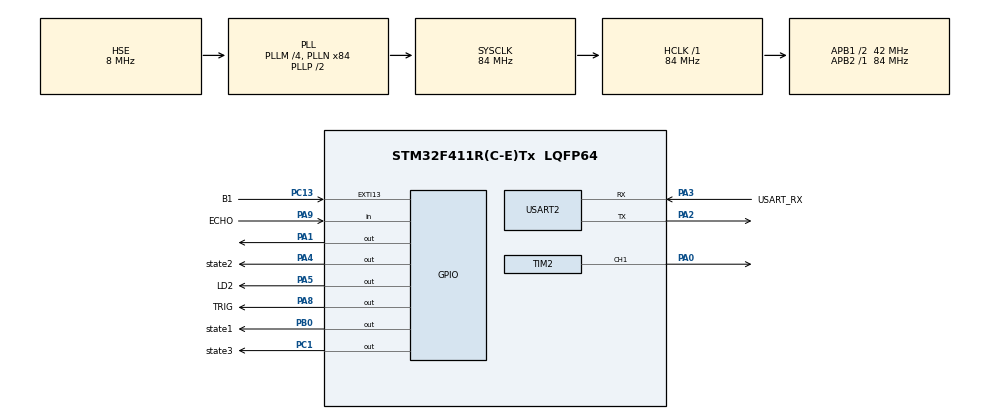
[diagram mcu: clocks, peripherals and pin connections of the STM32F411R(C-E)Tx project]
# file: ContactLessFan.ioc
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Mcu.Family=STM32F4
Mcu.Name=STM32F411R(C-E)Tx
Mcu.Package=LQFP64
NVIC.PriorityGroup=NVIC_PRIORITYGROUP_0
PA0-WKUP.Signal=S_TIM2_CH1_ETR
PA1.Signal=GPIO_Output
PA13.GPIO_Label=TMS
PA13.Mode=Serial_Wire
PA13.Signal=SYS_JTMS-SWDIO
PA14.GPIO_Label=TCK
PA14.Mode=Serial_Wire
PA14.Signal=SYS_JTCK-SWCLK
PA2.Mode=Asynchronous
PA2.Signal=USART2_TX
PA3.GPIO_Label=USART_RX
PA3.Mode=Asynchronous
PA3.Signal=USART2_RX
PA4.GPIO_Label=state2
PA4.Signal=GPIO_Output
PA5.GPIO_Label=LD2
PA5.Signal=GPIO_Output
PA8.GPIO_Label=TRIG
PA8.Signal=GPIO_Output
PA9.GPIO_Label=ECHO
PA9.Signal=GPIO_Input
PB0.GPIO_Label=state1
PB0.Signal=GPIO_Output
PB3.GPIO_Label=SWO
PB3.Signal=SYS_JTDO-SWO
PC1.GPIO_Label=state3
PC1.Signal=GPIO_Output
PC13-ANTI_TAMP.GPIO_Label=B1
PC13-ANTI_TAMP.GPIO_ModeDefaultEXTI=GPIO_MODE_IT_FALLING
PC13-ANTI_TAMP.Signal=GPXTI13
PC14-OSC32_IN.Mode=LSE-External-Oscillator
PC14-OSC32_IN.Signal=RCC_OSC32_IN
PC15-OSC32_OUT.Mode=LSE-External-Oscillator
PC15-OSC32_OUT.Signal=RCC_OSC32_OUT
PH0\ -\ OSC_IN.Mode=HSE-External-Clock-Source
PH0\ -\ OSC_IN.Signal=RCC_OSC_IN
PH1\ -\ OSC_OUT.Mode=HSE-External-Clock-Source
PH1\ -\ OSC_OUT.Signal=RCC_OSC_OUT
ProjectManager.HeapSize=0x200
ProjectManager.StackSize=0x400
ProjectManager.TargetToolchain=STM32CubeIDE
RCC.48MHZClocksFreq_Value=42000000
RCC.AHBFreq_Value=84000000
RCC.APB1CLKDivider=RCC_HCLK_DIV2
RCC.APB1Freq_Value=42000000
RCC.APB1TimFreq_Value=84000000
RCC.APB2Freq_Value=84000000
RCC.APB2TimFreq_Value=84000000
RCC.CortexFreq_Value=84000000
RCC.FLatency-AdvancedSettings=FLASH_LATENCY_2
RCC.HCLKFreq_Value=84000000
RCC.HSE_VALUE=8000000
RCC.HSI_VALUE=16000000
RCC.PLLM=4
RCC.PLLN=84
RCC.PLLSourceVirtual=RCC_PLLSOURCE_HSE
RCC.SYSCLKFreq_VALUE=84000000
RCC.SYSCLKSource=RCC_SYSCLKSOURCE_PLLCLK
RCC.VCOOutputFreq_Value=168000000
SH.S_TIM2_CH1_ETR.0=TIM2_CH1,PWM Generation1 CH1
TIM2.Channel-PWM\ Generation1\ CH1=TIM_CHANNEL_1
TIM2.Period=1000
TIM2.Prescaler=32000
TIM4.Prescaler=84-1
USART2.VirtualMode=VM_ASYNC
VP_TIM2_VS_ClockSourceINT.Mode=Internal
VP_TIM4_VS_ClockSourceINT.Mode=Internal
board=NUCLEO-F411RE

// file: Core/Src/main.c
/* USER CODE BEGIN Header */
/**
  ******************************************************************************
  * @file           : main.c
  * @brief          : Main program body
  ******************************************************************************
  * @attention
  *
  * <h2><center>&copy; Copyright (c) 2020 STMicroelectronics.
  * All rights reserved.</center></h2>
  *
  * This software component is licensed by ST under BSD 3-Clause license,
  * the "License"; You may not use this file except in compliance with the
  * License. You may obtain a copy of the License at:
  *                        opensource.org/licenses/BSD-3-Clause
  *
  ******************************************************************************
  */
/* USER CODE END Header */
#include "main.h"

/* USER CODE BEGIN Includes */
#include "DHT.h"
//#include "ESP8266_HAL.h"
#include <string.h>
#include <stdio.h>
/* USER CODE END Includes */

/* USER CODE BEGIN PTD */
#define usTIM	TIM4
/* USER CODE END PTD */

TIM_HandleTypeDef htim2;
TIM_HandleTypeDef htim4;

UART_HandleTypeDef huart2;

void SystemClock_Config(void);
static void MX_GPIO_Init(void);
static void MX_TIM4_Init(void);
static void MX_TIM2_Init(void);
static void MX_USART2_UART_Init(void);
/* USER CODE BEGIN PFP */
void usDelay(uint32_t uSec);
/* USER CODE END PFP */

/* USER CODE BEGIN 0 */
const float speedOfSound = 0.0343/2;
float distance;
float Temperature, Humidity;
float max_distance, min_distance, min_Temp;
int time, dutycycle;

DHT_DataTypedef DHT11_Data;
int fan_state  = 1;
char uartBuf[100];

/* USER CODE END 0 */

int main(void)
{
  /* USER CODE BEGIN 1 */
	uint32_t numTicks = 0;
  /* USER CODE END 1 */

  /* MCU Configuration--------------------------------------------------------*/

  /* Reset of all peripherals, Initializes the Flash interface and the Systick. */
  HAL_Init();

  /* Configure the system clock */
  SystemClock_Config();

  /* Initialize all configured peripherals */
  MX_GPIO_Init();
  MX_TIM4_Init();
  MX_TIM2_Init();
  MX_USART2_UART_Init();
  /* USER CODE BEGIN 2 */

//  Ringbuf_init();

//  ESP_Init("", ""); //input ssid and password.

  /* USER CODE END 2 */

  /* Infinite loop */
  while (1)
  {

    /* USER CODE BEGIN 3 */
//	  Server_Start();
//	  HAL_Delay(5000);	//the esp still can't initiate the server yet.
//
	  time = HAL_GetTick() % 5000;
	  dutycycle = time * 4095 / 5000;
	  TIM2->CCR1 = dutycycle;

	  DHT_GetData(&DHT11_Data);		//the code from here for DHT and Ultra works fine
	  Temperature = DHT11_Data.Temperature;

	  HAL_GPIO_WritePin(TRIG_GPIO_Port, TRIG_Pin, GPIO_PIN_RESET);
	  usDelay(3);
	  //*** START Ultrasonic measure routine ***//
	  //1. Output 10 usec TRIG
	  HAL_GPIO_WritePin(TRIG_GPIO_Port, TRIG_Pin, GPIO_PIN_SET);
	  usDelay(10);
	  HAL_GPIO_WritePin(TRIG_GPIO_Port, TRIG_Pin, GPIO_PIN_RESET);

	  //2. Wait for ECHO pin rising edge
	  while(HAL_GPIO_ReadPin(ECHO_GPIO_Port, ECHO_Pin) == GPIO_PIN_RESET);

	  //3. Start measuring ECHO pulse width in usec
	  numTicks = 0;
	  while(HAL_GPIO_ReadPin(ECHO_GPIO_Port, ECHO_Pin) == GPIO_PIN_SET)
	  {
		  numTicks++;
		  usDelay(2); //2.8usec
	  };

	  //4. Estimate distance in cm
	  distance = (numTicks + 0.0f)*2.8*speedOfSound;

	  //5. Print to UART terminal for debugging
	  sprintf(uartBuf, "Distance (cm)  = %.1f Temperature (C) = %.1f Fan State = %d\r\n", distance, Temperature, fan_state);
	  HAL_UART_Transmit(&huart2, (uint8_t *)uartBuf, strlen(uartBuf), 100);

	  max_distance = 60;
	  min_distance = 2;
	  min_Temp = 24;

	  if(HAL_GPIO_ReadPin(B1_GPIO_Port, B1_Pin) == 0){
		  HAL_Delay(10);
		  if(HAL_GPIO_ReadPin(B1_GPIO_Port, B1_Pin) == 0){
			  while(HAL_GPIO_ReadPin(B1_GPIO_Port,B1_Pin) == 0);
			  HAL_Delay(10);
			  fan_state = (fan_state + 1) % 4;
		  }
	  }

	  if(distance <= 60 && distance >=2 && Temperature >= 24 && fan_state!=0){
		  HAL_TIM_PWM_Stop(&htim2, TIM_CHANNEL_1);
		  if(fan_state == 1){
//			  TIM2->CCR1 = 500;
		  }else if(fan_state == 2){
//			  TIM2->CCR1 = 3000;
		  }else if(fan_state == 3){
//			  TIM2->CCR1 = 5000;
		  }
	  }
	  else{
		  HAL_TIM_PWM_Start(&htim2, TIM_CHANNEL_1);
	  }
//
//	  if(distance <= 60 && distance >=2 && Temperature >= 24){
//		  switch(fan_state){
//		  case '1':
//			  HAL_TIM_PWM_Stop(&htim2, TIM_CHANNEL_1);
//			  HAL_TIM_PWM_ConfigChannel(&htim2, 400, TIM_CHANNEL_1);
//		  case '2':
//			  HAL_TIM_PWM_Stop(&htim2, TIM_CHANNEL_1);
////			  HAL_TIM_PWM_ConfigChannel(&htim2, 200, TIM_CHANNEL_1);
//		  case '3':
//			  HAL_TIM_PWM_Stop(&htim2, TIM_CHANNEL_1);
////			  Blink(500);
////			  HAL_TIM_PWM_ConfigChannel(&htim2, 50, TIM_CHANNEL_1);
//		  default:
//			  HAL_TIM_PWM_Start(&htim2, TIM_CHANNEL_1);
//		  }
//	  }
//	  else{
//		  HAL_TIM_PWM_Start(&htim2, TIM_CHANNEL_1);
//	  }
//
//
	  HAL_Delay(2000); //given it at least 2 sec for it to work.
  }
  /* USER CODE END 3 */
}

void SystemClock_Config(void)
{
  RCC_OscInitTypeDef RCC_OscInitStruct = {0};
  RCC_ClkInitTypeDef RCC_ClkInitStruct = {0};

  /** Configure the main internal regulator output voltage
  */
  __HAL_RCC_PWR_CLK_ENABLE();
  __HAL_PWR_VOLTAGESCALING_CONFIG(PWR_REGULATOR_VOLTAGE_SCALE1);
  /** Initializes the RCC Oscillators according to the specified parameters
  * in the RCC_OscInitTypeDef structure.
  */
  RCC_OscInitStruct.OscillatorType = RCC_OSCILLATORTYPE_HSE;
  RCC_OscInitStruct.HSEState = RCC_HSE_BYPASS;
  RCC_OscInitStruct.PLL.PLLState = RCC_PLL_ON;
  RCC_OscInitStruct.PLL.PLLSource = RCC_PLLSOURCE_HSE;
  RCC_OscInitStruct.PLL.PLLM = 4;
  RCC_OscInitStruct.PLL.PLLN = 84;
  RCC_OscInitStruct.PLL.PLLP = RCC_PLLP_DIV2;
  RCC_OscInitStruct.PLL.PLLQ = 4;
  if (HAL_RCC_OscConfig(&RCC_OscInitStruct) != HAL_OK)
  {
    Error_Handler();
  }
  /** Initializes the CPU, AHB and APB buses clocks
  */
  RCC_ClkInitStruct.ClockType = RCC_CLOCKTYPE_HCLK|RCC_CLOCKTYPE_SYSCLK
                              |RCC_CLOCKTYPE_PCLK1|RCC_CLOCKTYPE_PCLK2;
  RCC_ClkInitStruct.SYSCLKSource = RCC_SYSCLKSOURCE_PLLCLK;
  RCC_ClkInitStruct.AHBCLKDivider = RCC_SYSCLK_DIV1;
  RCC_ClkInitStruct.APB1CLKDivider = RCC_HCLK_DIV2;
  RCC_ClkInitStruct.APB2CLKDivider = RCC_HCLK_DIV1;

  if (HAL_RCC_ClockConfig(&RCC_ClkInitStruct, FLASH_LATENCY_2) != HAL_OK)
  {
    Error_Handler();
  }
}

static void MX_TIM2_Init(void)
{

  TIM_ClockConfigTypeDef sClockSourceConfig = {0};
  TIM_MasterConfigTypeDef sMasterConfig = {0};
  TIM_OC_InitTypeDef sConfigOC = {0};

  htim2.Instance = TIM2;
  htim2.Init.Prescaler = 32000;
  htim2.Init.CounterMode = TIM_COUNTERMODE_UP;
  htim2.Init.Period = 1000;
  htim2.Init.ClockDivision = TIM_CLOCKDIVISION_DIV1;
  htim2.Init.AutoReloadPreload = TIM_AUTORELOAD_PRELOAD_DISABLE;
  if (HAL_TIM_Base_Init(&htim2) != HAL_OK)
  {
    Error_Handler();
  }
  sClockSourceConfig.ClockSource = TIM_CLOCKSOURCE_INTERNAL;
  if (HAL_TIM_ConfigClockSource(&htim2, &sClockSourceConfig) != HAL_OK)
  {
    Error_Handler();
  }
  if (HAL_TIM_PWM_Init(&htim2) != HAL_OK)
  {
    Error_Handler();
  }
  sMasterConfig.MasterOutputTrigger = TIM_TRGO_RESET;
  sMasterConfig.MasterSlaveMode = TIM_MASTERSLAVEMODE_DISABLE;
  if (HAL_TIMEx_MasterConfigSynchronization(&htim2, &sMasterConfig) != HAL_OK)
  {
    Error_Handler();
  }
  sConfigOC.OCMode = TIM_OCMODE_PWM1;
  sConfigOC.Pulse = 0;
  sConfigOC.OCPolarity = TIM_OCPOLARITY_HIGH;
  sConfigOC.OCFastMode = TIM_OCFAST_DISABLE;
  if (HAL_TIM_PWM_ConfigChannel(&htim2, &sConfigOC, TIM_CHANNEL_1) != HAL_OK)
  {
    Error_Handler();
  }
  HAL_TIM_MspPostInit(&htim2);

}

static void MX_TIM4_Init(void)
{

  TIM_ClockConfigTypeDef sClockSourceConfig = {0};
  TIM_MasterConfigTypeDef sMasterConfig = {0};

  htim4.Instance = TIM4;
  htim4.Init.Prescaler = 84-1;
  htim4.Init.CounterMode = TIM_COUNTERMODE_UP;
  htim4.Init.Period = 65535;
  htim4.Init.ClockDivision = TIM_CLOCKDIVISION_DIV1;
  htim4.Init.AutoReloadPreload = TIM_AUTORELOAD_PRELOAD_DISABLE;
  if (HAL_TIM_Base_Init(&htim4) != HAL_OK)
  {
    Error_Handler();
  }
  sClockSourceConfig.ClockSource = TIM_CLOCKSOURCE_INTERNAL;
  if (HAL_TIM_ConfigClockSource(&htim4, &sClockSourceConfig) != HAL_OK)
  {
    Error_Handler();
  }
  sMasterConfig.MasterOutputTrigger = TIM_TRGO_RESET;
  sMasterConfig.MasterSlaveMode = TIM_MASTERSLAVEMODE_DISABLE;
  if (HAL_TIMEx_MasterConfigSynchronization(&htim4, &sMasterConfig) != HAL_OK)
  {
    Error_Handler();
  }

}

static void MX_USART2_UART_Init(void)
{

  huart2.Instance = USART2;
  huart2.Init.BaudRate = 115200;
  huart2.Init.WordLength = UART_WORDLENGTH_8B;
  huart2.Init.StopBits = UART_STOPBITS_1;
  huart2.Init.Parity = UART_PARITY_NONE;
  huart2.Init.Mode = UART_MODE_TX_RX;
  huart2.Init.HwFlowCtl = UART_HWCONTROL_NONE;
  huart2.Init.OverSampling = UART_OVERSAMPLING_16;
  if (HAL_UART_Init(&huart2) != HAL_OK)
  {
    Error_Handler();
  }

}

static void MX_GPIO_Init(void)
{
  GPIO_InitTypeDef GPIO_InitStruct = {0};

  /* GPIO Ports Clock Enable */
  __HAL_RCC_GPIOC_CLK_ENABLE();
  __HAL_RCC_GPIOH_CLK_ENABLE();
  __HAL_RCC_GPIOA_CLK_ENABLE();
  __HAL_RCC_GPIOB_CLK_ENABLE();

  /*Configure GPIO pin Output Level */
  HAL_GPIO_WritePin(state3_GPIO_Port, state3_Pin, GPIO_PIN_RESET);

  /*Configure GPIO pin Output Level */
  HAL_GPIO_WritePin(GPIOA, GPIO_PIN_1|state2_Pin|LD2_Pin|TRIG_Pin, GPIO_PIN_RESET);

  /*Configure GPIO pin Output Level */
  HAL_GPIO_WritePin(state1_GPIO_Port, state1_Pin, GPIO_PIN_RESET);

  /*Configure GPIO pin : B1_Pin */
  GPIO_InitStruct.Pin = B1_Pin;
  GPIO_InitStruct.Mode = GPIO_MODE_IT_FALLING;
  GPIO_InitStruct.Pull = GPIO_NOPULL;
  HAL_GPIO_Init(B1_GPIO_Port, &GPIO_InitStruct);

  /*Configure GPIO pin : state3_Pin */
  GPIO_InitStruct.Pin = state3_Pin;
  GPIO_InitStruct.Mode = GPIO_MODE_OUTPUT_PP;
  GPIO_InitStruct.Pull = GPIO_NOPULL;
  GPIO_InitStruct.Speed = GPIO_SPEED_FREQ_LOW;
  HAL_GPIO_Init(state3_GPIO_Port, &GPIO_InitStruct);

  /*Configure GPIO pins : PA1 state2_Pin LD2_Pin TRIG_Pin */
  GPIO_InitStruct.Pin = GPIO_PIN_1|state2_Pin|LD2_Pin|TRIG_Pin;
  GPIO_InitStruct.Mode = GPIO_MODE_OUTPUT_PP;
  GPIO_InitStruct.Pull = GPIO_NOPULL;
  GPIO_InitStruct.Speed = GPIO_SPEED_FREQ_LOW;
  HAL_GPIO_Init(GPIOA, &GPIO_InitStruct);

  /*Configure GPIO pin : state1_Pin */
  GPIO_InitStruct.Pin = state1_Pin;
  GPIO_InitStruct.Mode = GPIO_MODE_OUTPUT_PP;
  GPIO_InitStruct.Pull = GPIO_NOPULL;
  GPIO_InitStruct.Speed = GPIO_SPEED_FREQ_LOW;
  HAL_GPIO_Init(state1_GPIO_Port, &GPIO_InitStruct);

  /*Configure GPIO pin : ECHO_Pin */
  GPIO_InitStruct.Pin = ECHO_Pin;
  GPIO_InitStruct.Mode = GPIO_MODE_INPUT;
  GPIO_InitStruct.Pull = GPIO_NOPULL;
  HAL_GPIO_Init(ECHO_GPIO_Port, &GPIO_InitStruct);

}

/* USER CODE BEGIN 4 */
void usDelay(uint32_t uSec)
{
	if(uSec < 2) uSec = 2;
	usTIM->ARR = uSec - 1; 	/*sets the value in the auto-reload register*/
	usTIM->EGR = 1; 			/*Re-initialises the timer*/
	usTIM->SR &= ~1; 		//Resets the flag
	usTIM->CR1 |= 1; 		//Enables the counter
	while((usTIM->SR&0x0001) != 1);
	usTIM->SR &= ~(0x0001);
}

void Blink(uint32_t delay){
	HAL_GPIO_WritePin(LD2_GPIO_Port, LD2_Pin, GPIO_PIN_SET);
	HAL_Delay(delay);
	HAL_GPIO_WritePin(LD2_GPIO_Port, LD2_Pin, GPIO_PIN_RESET);
	HAL_Delay(delay);
}

void Close_all_fan_pin(){
	HAL_GPIO_WritePin(state1_GPIO_Port, state1_Pin, GPIO_PIN_RESET);
	HAL_GPIO_WritePin(state2_GPIO_Port, state2_Pin, GPIO_PIN_RESET);
	HAL_GPIO_WritePin(state3_GPIO_Port, state3_Pin, GPIO_PIN_RESET);
	HAL_Delay(100);
}
/* USER CODE END 4 */

void Error_Handler(void)
{
}

/************************ (C) COPYRIGHT STMicroelectronics *****END OF FILE****/
